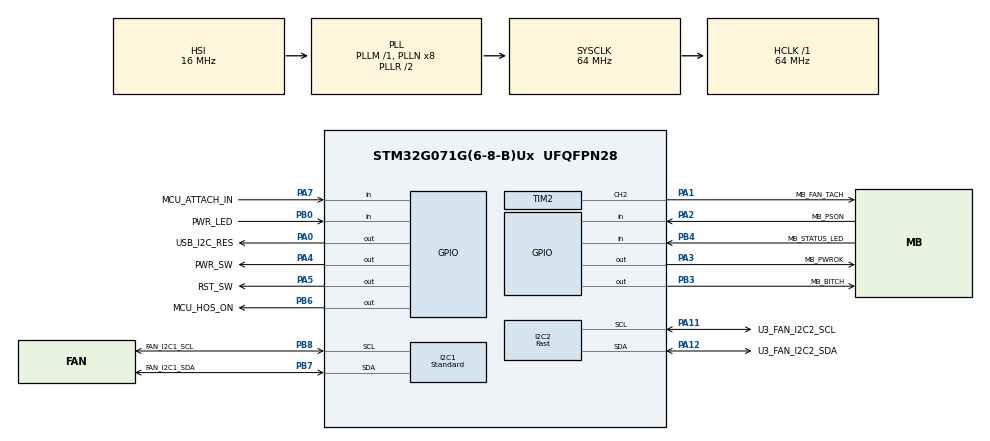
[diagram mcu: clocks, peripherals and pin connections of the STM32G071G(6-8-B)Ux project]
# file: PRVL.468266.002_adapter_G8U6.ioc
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I2C1.Analog_Filter=I2C_ANALOGFILTER_ENABLE
I2C1.I2C_Fall_Time=200
I2C1.I2C_Rise_Time=200
I2C1.I2C_Speed_Mode=I2C_Standard
I2C1.NoStretchMode=I2C_NOSTRETCH_ENABLE
I2C1.Timing=0x10E47DAF
I2C2.Analog_Filter=I2C_ANALOGFILTER_ENABLE
I2C2.I2C_Fall_Time=80
I2C2.I2C_Rise_Time=160
I2C2.I2C_Speed_Mode=I2C_Fast
I2C2.OwnAddress=0x25
I2C2.Timing=0x10801031
Mcu.Family=STM32G0
Mcu.Name=STM32G071G(6-8-B)Ux
Mcu.Package=UFQFPN28
NVIC.I2C1_IRQn=true\:2\:0\:true\:true\:true\:1\:true\:true\:true
NVIC.I2C2_IRQn=true\:1\:0\:true\:true\:true\:2\:true\:true\:true
NVIC.TIM2_IRQn=true\:2\:0\:true\:true\:true\:3\:true\:true\:true
NVIC.TIM3_IRQn=true\:2\:0\:true\:true\:true\:4\:true\:true\:true
PA0.GPIO_Label=USB_I2C_RES
PA0.PinState=GPIO_PIN_SET
PA0.Signal=GPIO_Output
PA1.GPIO_Label=MB_FAN_TACH
PA1.Signal=S_TIM2_CH2
PA11\ [PA9].GPIO_Label=U3_FAN_I2C2_SCL
PA11\ [PA9].Mode=I2C
PA11\ [PA9].Signal=I2C2_SCL
PA12\ [PA10].GPIO_Label=U3_FAN_I2C2_SDA
PA12\ [PA10].Mode=I2C
PA12\ [PA10].Signal=I2C2_SDA
PA13.Mode=Serial_Wire
PA13.Signal=SYS_SWDIO
PA14-BOOT0.Mode=Serial_Wire
PA14-BOOT0.Signal=SYS_SWCLK
PA2.GPIO_Label=MB_PSON
PA2.Signal=GPIO_Input
PA3.GPIO_Label=MB_PWROK
PA3.Signal=GPIO_Output
PA4.GPIO_Label=PWR_SW
PA4.PinState=GPIO_PIN_SET
PA4.Signal=GPIO_Output
PA5.GPIO_Label=RST_SW
PA5.PinState=GPIO_PIN_SET
PA5.Signal=GPIO_Output
PA7.GPIO_Label=MCU_ATTACH_IN
PA7.Signal=GPIO_Input
PB0.GPIO_Label=PWR_LED
PB0.Signal=GPIO_Input
PB3.GPIO_Label=MB_BITCH
PB3.PinState=GPIO_PIN_SET
PB3.Signal=GPIO_Output
PB4.GPIO_Label=MB_STATUS_LED
PB4.Signal=GPIO_Input
PB6.GPIO_Label=MCU_HOS_ON
PB6.PinState=GPIO_PIN_SET
PB6.Signal=GPIO_Output
PB7.GPIO_Label=FAN_I2C1_SDA
PB7.Mode=I2C
PB7.Signal=I2C1_SDA
PB8.GPIO_Label=FAN_I2C1_SCL
PB8.Mode=I2C
PB8.Signal=I2C1_SCL
ProjectManager.HeapSize=0x200
ProjectManager.StackSize=0x400
ProjectManager.TargetToolchain=STM32CubeIDE
RCC.ADCFreq_Value=64000000
RCC.AHBFreq_Value=64000000
RCC.CortexFreq_Value=64000000
RCC.EXTERNAL_CLOCK_VALUE=48000
RCC.HCLKFreq_Value=64000000
RCC.HSE_VALUE=8000000
RCC.HSI_VALUE=16000000
RCC.LSE_VALUE=32768
RCC.PLLQ=RCC_PLLQ_DIV8
RCC.SYSCLKFreq_VALUE=64000000
RCC.SYSCLKSource=RCC_SYSCLKSOURCE_PLLCLK
RCC.VCOOutputFreq_Value=128000000
SH.S_TIM2_CH2.0=TIM2_CH2,PWM Generation2 CH2
TIM2.AutoReloadPreload=TIM_AUTORELOAD_PRELOAD_ENABLE
TIM2.Channel-PWM\ Generation2\ CH2=TIM_CHANNEL_2
TIM2.OC2Preload_PWM=ENABLE
TIM2.Period=999
TIM2.Prescaler=63
TIM2.Pulse-PWM\ Generation2\ CH2=500
TIM3.Period=999
TIM3.Prescaler=63999
VP_SYS_VS_DBSignals.Mode=DisableDeadBatterySignals
VP_TIM2_VS_ClockSourceINT.Mode=Internal
VP_TIM3_VS_ClockSourceINT.Mode=Internal
board=custom

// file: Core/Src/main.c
/* USER CODE BEGIN Header */
/**
 ******************************************************************************
 * @file           : main.c
 * @brief          : Main program body
 ******************************************************************************
 * @attention
 *
 * Copyright (c) 2025 STMicroelectronics.
 * All rights reserved.
 *
 * This software is licensed under terms that can be found in the LICENSE file
 * in the root directory of this software component.
 * If no LICENSE file comes with this software, it is provided AS-IS.
 *
 ******************************************************************************
 */
/* USER CODE END Header */
#include "main.h"

/* USER CODE BEGIN PTD */
typedef enum AdapterState {PWR_OFF = 0b00, PWR_ON = 0b01, HARD_RESET = 0b11} AdapterState;
typedef enum PWROKState {LOW = 0x00, HIGH = 0x01} PWROKState;

#define MAX31760_CR1_REG 0x00 // Адрес Control Register 1
#define MAX31760_PWM_DUTY_REG 0x50 // Регистр коэффициента заполнения Ш�?М
#define _FAN2_FAIL_DUTY_REGISTER 0x03;     /**< Fail Duty Cycle Reg Address */
#define MAX31760_CR2_REG 0x01// Адрес Control Register 2

#define MAX31760_TACH1_MSB 0x52 //tach_ registers
#define MAX31760_TACH1_LSB 0x53
#define MAX31760_TACH2_MSB 0x54
#define MAX31760_TACH2_LSB 0x55

#define TACH_PULSES_PER_REV 2 // Количество импульсов тахометра за один оборот

uint16_t result = 0;
uint8_t flag_receive = 0;

uint8_t MCU_attach=0;
/* USER CODE END PTD */

I2C_HandleTypeDef hi2c1;
I2C_HandleTypeDef hi2c2;

TIM_HandleTypeDef htim2;
TIM_HandleTypeDef htim3;

/* USER CODE BEGIN PV */
void OpenKey()
{
	HAL_GPIO_WritePin(MCU_HOS_ON_GPIO_Port, MCU_HOS_ON_Pin, GPIO_PIN_RESET);
	HAL_GPIO_WritePin(MB_BITCH_GPIO_Port, MB_BITCH_Pin, GPIO_PIN_RESET);

}

void CloseKey()
{
	HAL_GPIO_WritePin(MCU_HOS_ON_GPIO_Port, MCU_HOS_ON_Pin, GPIO_PIN_SET);
	HAL_GPIO_WritePin(MB_BITCH_GPIO_Port, MB_BITCH_Pin, GPIO_PIN_SET);

}

/* USER CODE END PV */

void SystemClock_Config(void);
static void MX_GPIO_Init(void);
static void MX_I2C1_Init(void);
static void MX_I2C2_Init(void);
static void MX_TIM2_Init(void);
static void MX_TIM3_Init(void);
static void MX_NVIC_Init(void);
/* USER CODE BEGIN PFP */

uint16_t tachValue2 = 0; //ReadFanTach(0x51); // Чтение тахометрических данных со первого контроллера
uint16_t tachValue3 = 0; //ReadFanTach(0x54); // Чтение тахометрических данных с второго контроллера
uint16_t tachValue4 = 0; //ReadFanTach(0x54); // Чтение тахометрических данных со второго контроллера

void Send_Fan_Tachometer_To_Motherboard();

AdapterState Command = PWR_OFF;
AdapterState Adapter_State = PWR_OFF;
GPIO_PinState MB_State = GPIO_PIN_RESET;
PWROKState PWR_OK_State = GPIO_PIN_RESET;
/* USER CODE END PFP */

/* USER CODE BEGIN 0 */
uint16_t overflow_counter =0;

uint8_t command_i2c = 0;
int8_t temperature = 0;
uint8_t TempMode = 1;

uint16_t minRPM = 0;
uint8_t statusFAN1 = 0;
uint8_t statusFAN2 = 0;

void ResetFan()
{
	while (HAL_I2C_IsDeviceReady(&hi2c1, (0x51 << 1), 10, HAL_MAX_DELAY) != HAL_OK)
	{}
	uint8_t pData[1] = {0x40};
	uint8_t pData_2[1] = {0x02};
	uint8_t pData_3[1] = {0xFF};
	HAL_I2C_Mem_Write(&hi2c1, (0x51 << 1), MAX31760_CR1_REG, 1, pData, 1, 100);
	HAL_Delay(200);
	HAL_I2C_Mem_Write(&hi2c1, (0x51 << 1), 0x02, 1, pData_2, 1, 100);
	HAL_Delay(50);
	HAL_I2C_Mem_Write(&hi2c1, (0x51 << 1), 0x04, 1, pData_3, 1, 100);
	HAL_Delay(50);
	while (HAL_I2C_IsDeviceReady(&hi2c1, (0x54 << 1), 10, HAL_MAX_DELAY) != HAL_OK)
	{}
	HAL_I2C_Mem_Write(&hi2c1, (0x54<<1), MAX31760_CR1_REG, 1, pData, 1, 100);
	HAL_Delay(200);
	HAL_I2C_Mem_Write(&hi2c1, (0x54 << 1), 0x04, 1, pData_3, 1, 100);
	HAL_Delay(50);

}
uint16_t ReadTachRegister(uint8_t address, uint8_t regMSB, uint8_t regLSB)
{
	uint8_t msb, lsb;  // @suppress("Multiple variable declaration")

	HAL_I2C_Mem_Read(&hi2c1, address << 1, regMSB, I2C_MEMADD_SIZE_8BIT, &msb, 1, 100);
	HAL_I2C_Mem_Read(&hi2c1, address << 1, regLSB, I2C_MEMADD_SIZE_8BIT, &lsb, 1, 100);
	return (msb << 8) | lsb; // Объединяем MSB и LSB в 16-битное значение
}

void Read_Fan_Tachometer()
{

	tachValue2 = ReadTachRegister(0x51, MAX31760_TACH1_MSB, MAX31760_TACH1_LSB); // Первый контроллер, второй тахометр
	tachValue3 = ReadTachRegister(0x54, MAX31760_TACH1_MSB, MAX31760_TACH1_LSB); // Второй контроллер, первый тахометр
	tachValue4 = ReadTachRegister(0x54, MAX31760_TACH2_MSB, MAX31760_TACH2_LSB); // Второй контроллер, второй тахометр
}

void ReadStatus()
{
	HAL_I2C_Mem_Read(&hi2c1,( 0x51 << 1), 0x5A, I2C_MEMADD_SIZE_8BIT, &statusFAN1, 1, 100);
	HAL_I2C_Mem_Read(&hi2c1, (0x54 << 1), 0x5A, I2C_MEMADD_SIZE_8BIT, &statusFAN2, 1, 100);
}

uint16_t CalculateRPM(uint16_t tachValue)
{
	if (tachValue == 0) return 0; // �?збегаем деления на ноль
	return (60 * 100000) / (tachValue*TACH_PULSES_PER_REV);
}

uint16_t GetMinRPM(uint16_t rpm2, uint16_t rpm3, uint16_t rpm4)
{
	uint16_t minRPM = rpm3; // Предполагаем, что первое значение минимальное

	if (rpm3 < minRPM) {
		minRPM = rpm3; // Обновляем минимум, если второе значение меньше
	}
	if (rpm4 < minRPM) {
		minRPM = rpm4; // Обновляем минимум, если третье значение меньше
	}

	return minRPM; // Возвращаем минимальное значение
}

void Calculate_RPM()
{

	uint16_t rpm2 = CalculateRPM(tachValue2);
	uint16_t rpm3 = CalculateRPM(tachValue3);
	uint16_t rpm4 = CalculateRPM(tachValue4);

	// Здесь можно сохранить значения RPM в глобальные переменные или передать их дальше
	minRPM = GetMinRPM(rpm2, rpm3, rpm4);
}

void FanContrlSetDuty(I2C_HandleTypeDef *hi2c, uint16_t slaveAddress, uint8_t duty)
{
	uint8_t comm;
	uint8_t aTxBuffer[1] = {0};

	comm = MAX31760_PWM_DUTY_REG;
	aTxBuffer[0] = duty;
	HAL_I2C_Mem_Write(hi2c, slaveAddress, comm, 1, aTxBuffer, 1, 100);

	comm = _FAN2_FAIL_DUTY_REGISTER;
	aTxBuffer[0] = duty;
	HAL_I2C_Mem_Write(hi2c, slaveAddress, comm, 1, aTxBuffer, 1, 100);
}

void SetPWMFrequency(uint8_t address, uint8_t frequencySetting) {
	uint8_t data[2] = {MAX31760_CR1_REG, frequencySetting};

	uint8_t data_2[2] = {MAX31760_CR2_REG, 0x11};

	HAL_I2C_Master_Transmit(&hi2c1, (address << 1), data, 2, 100);

	HAL_I2C_Master_Transmit(&hi2c1, (address << 1), data_2, 2, 100);
}

void WriteMAX31760Register(uint8_t address, uint8_t reg, uint8_t value) {

	uint8_t data[2] = {reg, value};
	HAL_I2C_Master_Transmit(&hi2c1, (address << 1), data, 2, 100);
}

void InitMAX31760(uint8_t address) {
	// Установка частоты Ш�?М 24 кГц
	// Значение для регистра 0x32 зависит от формулы в документации
	// Например, если для 24 кГц нужно значение 0x4B:

	SetPWMFrequency(address, 0x19);
	// Установка коэффициента заполнения Ш�?М 50%
	FanContrlSetDuty(&hi2c1, (address << 1), 0xFF);

}

void SetButton(GPIO_PinState state)
{
	HAL_GPIO_WritePin(PWR_SW_GPIO_Port, PWR_SW_Pin, state);
}

void PressButton(uint16_t time)
{
	SetButton(GPIO_PIN_RESET);
	HAL_Delay(time);
	SetButton(GPIO_PIN_SET);
}

void SetPWROK(PWROKState state)
{
	HAL_GPIO_WritePin(MB_PWROK_GPIO_Port, MB_PWROK_Pin, (state == HIGH ? GPIO_PIN_SET : GPIO_PIN_RESET));
	PWR_OK_State = state;
}
void SetTempMode()
{
	MCU_attach = HAL_GPIO_ReadPin(MCU_ATTACH_IN_GPIO_Port, MCU_ATTACH_IN_Pin);
	if(MCU_attach == 1) {
		TempMode = 0;
	} else if (MCU_attach == 0 && temperature > 50 )
	{
		TempMode = 0;
	}else TempMode = 1;
}

void Send_Fan_Tachometer_To_Motherboard() {
	// Пример: генерация Ш�?М сигнала с частотой 1 кГц и duty cycle, соответствующим значению RPM
	uint32_t period1 = 0;

	if (minRPM > 0) {
		// Вычисляем период таймера для заданного RPM

		period1 = (1000000 / (minRPM * 2));
	} else {
		// Если RPM == 0, устанавливаем максимальный период (или другой порог)
		period1 = 1000 - 1; // Например, 1 мс (частота 1 кГц)
	}
	__HAL_TIM_SET_AUTORELOAD(&htim2, period1 - 1); // Установка периода 1 мс (частота 1 кГц)
	__HAL_TIM_SET_COMPARE(&htim2, TIM_CHANNEL_2, period1 / 2); // Установка duty cycle пропорционально значению RPM

}
uint8_t i2c_rx_buffer[1]; // Буфер для приёма данных
uint8_t Command_temp = 0;
/* USER CODE END 0 */

int main(void)
{

  /* MCU Configuration--------------------------------------------------------*/

  /* Reset of all peripherals, Initializes the Flash interface and the Systick. */
  HAL_Init();

  /* Configure the system clock */
  SystemClock_Config();

  /* Initialize all configured peripherals */
  MX_GPIO_Init();
  MX_I2C1_Init();
  MX_I2C2_Init();
  MX_TIM2_Init();
  MX_TIM3_Init();

  /* Initialize interrupts */
  MX_NVIC_Init();
  /* USER CODE BEGIN 2 */
	HAL_Delay(200);
	ResetFan();
	HAL_Delay(200);
	SetButton(GPIO_PIN_SET);
	SetPWROK(HIGH);
	InitMAX31760(0x54); // �?нициализация первого контроллера
	InitMAX31760(0x51); // �?нициализация второго контроллера

	HAL_TIM_Base_Start_IT(&htim3);
	HAL_TIM_PWM_Start(&htim2, TIM_CHANNEL_2); //запуск Ш�?М
	HAL_GPIO_WritePin(MB_BITCH_GPIO_Port, MB_BITCH_Pin, GPIO_PIN_SET);
	Command_temp = HAL_GPIO_ReadPin(MB_STATUS_LED_GPIO_Port, MB_STATUS_LED_Pin);

	//ReadStatus();
  /* USER CODE END 2 */

  /* Infinite loop */
	while (1)
	{

    /* USER CODE BEGIN 3 */

		Command_temp = HAL_GPIO_ReadPin(MB_STATUS_LED_GPIO_Port, MB_STATUS_LED_Pin);
		HAL_I2C_Slave_Receive_IT(&hi2c2, i2c_rx_buffer, 1);

		// Управление вентиляторами
		if (TempMode == 0) {
			FanContrlSetDuty(&hi2c1, (0x54 << 1), 0xF0); // Установка Ш�?М на 50% для первого контроллера
			FanContrlSetDuty(&hi2c1, (0x51 << 1), 0xF0); // Установка Ш�?М на 50% для второго контроллера
		} else if (TempMode == 1) {
			FanContrlSetDuty(&hi2c1, (0x54 << 1), 0x80); // Установка Ш�?М на 50% для первого контроллера
			FanContrlSetDuty(&hi2c1, (0x51 << 1), 0x80); // Установка Ш�?М на 50% для второго контроллера
		} else {
			FanContrlSetDuty(&hi2c1, (0x54 << 1), 0xFF); // Установка Ш�?М на 50% для первого контроллера
			FanContrlSetDuty(&hi2c1, (0x51 << 1), 0xFF); // Установка Ш�?М на 50% для второго контроллера
		}

		if(Adapter_State == 1)
		{
			HAL_GPIO_WritePin(MB_BITCH_GPIO_Port, MB_BITCH_Pin, GPIO_PIN_RESET);
		}

	}
  /* USER CODE END 3 */
}

void SystemClock_Config(void)
{
  RCC_OscInitTypeDef RCC_OscInitStruct = {0};
  RCC_ClkInitTypeDef RCC_ClkInitStruct = {0};

  /** Configure the main internal regulator output voltage
  */
  HAL_PWREx_ControlVoltageScaling(PWR_REGULATOR_VOLTAGE_SCALE1);

  /** Initializes the RCC Oscillators according to the specified parameters
  * in the RCC_OscInitTypeDef structure.
  */
  RCC_OscInitStruct.OscillatorType = RCC_OSCILLATORTYPE_HSI;
  RCC_OscInitStruct.HSIState = RCC_HSI_ON;
  RCC_OscInitStruct.HSIDiv = RCC_HSI_DIV1;
  RCC_OscInitStruct.HSICalibrationValue = RCC_HSICALIBRATION_DEFAULT;
  RCC_OscInitStruct.PLL.PLLState = RCC_PLL_ON;
  RCC_OscInitStruct.PLL.PLLSource = RCC_PLLSOURCE_HSI;
  RCC_OscInitStruct.PLL.PLLM = RCC_PLLM_DIV1;
  RCC_OscInitStruct.PLL.PLLN = 8;
  RCC_OscInitStruct.PLL.PLLP = RCC_PLLP_DIV2;
  RCC_OscInitStruct.PLL.PLLQ = RCC_PLLQ_DIV8;
  RCC_OscInitStruct.PLL.PLLR = RCC_PLLR_DIV2;
  if (HAL_RCC_OscConfig(&RCC_OscInitStruct) != HAL_OK)
  {
    Error_Handler();
  }

  /** Initializes the CPU, AHB and APB buses clocks
  */
  RCC_ClkInitStruct.ClockType = RCC_CLOCKTYPE_HCLK|RCC_CLOCKTYPE_SYSCLK
                              |RCC_CLOCKTYPE_PCLK1;
  RCC_ClkInitStruct.SYSCLKSource = RCC_SYSCLKSOURCE_PLLCLK;
  RCC_ClkInitStruct.AHBCLKDivider = RCC_SYSCLK_DIV1;
  RCC_ClkInitStruct.APB1CLKDivider = RCC_HCLK_DIV1;

  if (HAL_RCC_ClockConfig(&RCC_ClkInitStruct, FLASH_LATENCY_2) != HAL_OK)
  {
    Error_Handler();
  }
}

/**
  * @brief NVIC Configuration.
  * @retval None
  */
static void MX_NVIC_Init(void)
{
  /* I2C1_IRQn interrupt configuration */
  HAL_NVIC_SetPriority(I2C1_IRQn, 2, 0);
  HAL_NVIC_EnableIRQ(I2C1_IRQn);
  /* I2C2_IRQn interrupt configuration */
  HAL_NVIC_SetPriority(I2C2_IRQn, 1, 0);
  HAL_NVIC_EnableIRQ(I2C2_IRQn);
  /* TIM2_IRQn interrupt configuration */
  HAL_NVIC_SetPriority(TIM2_IRQn, 2, 0);
  HAL_NVIC_EnableIRQ(TIM2_IRQn);
  /* TIM3_IRQn interrupt configuration */
  HAL_NVIC_SetPriority(TIM3_IRQn, 2, 0);
  HAL_NVIC_EnableIRQ(TIM3_IRQn);
}

static void MX_I2C1_Init(void)
{

  hi2c1.Instance = I2C1;
  hi2c1.Init.Timing = 0x10E47DAF;
  hi2c1.Init.OwnAddress1 = 0;
  hi2c1.Init.AddressingMode = I2C_ADDRESSINGMODE_7BIT;
  hi2c1.Init.DualAddressMode = I2C_DUALADDRESS_DISABLE;
  hi2c1.Init.OwnAddress2 = 0;
  hi2c1.Init.OwnAddress2Masks = I2C_OA2_NOMASK;
  hi2c1.Init.GeneralCallMode = I2C_GENERALCALL_DISABLE;
  hi2c1.Init.NoStretchMode = I2C_NOSTRETCH_ENABLE;
  if (HAL_I2C_Init(&hi2c1) != HAL_OK)
  {
    Error_Handler();
  }

  /** Configure Analogue filter
  */
  if (HAL_I2CEx_ConfigAnalogFilter(&hi2c1, I2C_ANALOGFILTER_ENABLE) != HAL_OK)
  {
    Error_Handler();
  }

  /** Configure Digital filter
  */
  if (HAL_I2CEx_ConfigDigitalFilter(&hi2c1, 0) != HAL_OK)
  {
    Error_Handler();
  }

}

static void MX_I2C2_Init(void)
{

  hi2c2.Instance = I2C2;
  hi2c2.Init.Timing = 0x10801031;
  hi2c2.Init.OwnAddress1 = 74;
  hi2c2.Init.AddressingMode = I2C_ADDRESSINGMODE_7BIT;
  hi2c2.Init.DualAddressMode = I2C_DUALADDRESS_DISABLE;
  hi2c2.Init.OwnAddress2 = 0;
  hi2c2.Init.OwnAddress2Masks = I2C_OA2_NOMASK;
  hi2c2.Init.GeneralCallMode = I2C_GENERALCALL_DISABLE;
  hi2c2.Init.NoStretchMode = I2C_NOSTRETCH_DISABLE;
  if (HAL_I2C_Init(&hi2c2) != HAL_OK)
  {
    Error_Handler();
  }

  /** Configure Analogue filter
  */
  if (HAL_I2CEx_ConfigAnalogFilter(&hi2c2, I2C_ANALOGFILTER_ENABLE) != HAL_OK)
  {
    Error_Handler();
  }

  /** Configure Digital filter
  */
  if (HAL_I2CEx_ConfigDigitalFilter(&hi2c2, 0) != HAL_OK)
  {
    Error_Handler();
  }

}

static void MX_TIM2_Init(void)
{

  TIM_ClockConfigTypeDef sClockSourceConfig = {0};
  TIM_MasterConfigTypeDef sMasterConfig = {0};
  TIM_OC_InitTypeDef sConfigOC = {0};

  htim2.Instance = TIM2;
  htim2.Init.Prescaler = 63;
  htim2.Init.CounterMode = TIM_COUNTERMODE_UP;
  htim2.Init.Period = 999;
  htim2.Init.ClockDivision = TIM_CLOCKDIVISION_DIV1;
  htim2.Init.AutoReloadPreload = TIM_AUTORELOAD_PRELOAD_ENABLE;
  if (HAL_TIM_Base_Init(&htim2) != HAL_OK)
  {
    Error_Handler();
  }
  sClockSourceConfig.ClockSource = TIM_CLOCKSOURCE_INTERNAL;
  if (HAL_TIM_ConfigClockSource(&htim2, &sClockSourceConfig) != HAL_OK)
  {
    Error_Handler();
  }
  if (HAL_TIM_PWM_Init(&htim2) != HAL_OK)
  {
    Error_Handler();
  }
  sMasterConfig.MasterOutputTrigger = TIM_TRGO_RESET;
  sMasterConfig.MasterSlaveMode = TIM_MASTERSLAVEMODE_DISABLE;
  if (HAL_TIMEx_MasterConfigSynchronization(&htim2, &sMasterConfig) != HAL_OK)
  {
    Error_Handler();
  }
  sConfigOC.OCMode = TIM_OCMODE_PWM1;
  sConfigOC.Pulse = 500;
  sConfigOC.OCPolarity = TIM_OCPOLARITY_HIGH;
  sConfigOC.OCFastMode = TIM_OCFAST_DISABLE;
  if (HAL_TIM_PWM_ConfigChannel(&htim2, &sConfigOC, TIM_CHANNEL_2) != HAL_OK)
  {
    Error_Handler();
  }
  HAL_TIM_MspPostInit(&htim2);

}

static void MX_TIM3_Init(void)
{

  TIM_ClockConfigTypeDef sClockSourceConfig = {0};
  TIM_MasterConfigTypeDef sMasterConfig = {0};

  htim3.Instance = TIM3;
  htim3.Init.Prescaler = 63999;
  htim3.Init.CounterMode = TIM_COUNTERMODE_UP;
  htim3.Init.Period = 999;
  htim3.Init.ClockDivision = TIM_CLOCKDIVISION_DIV1;
  htim3.Init.AutoReloadPreload = TIM_AUTORELOAD_PRELOAD_DISABLE;
  if (HAL_TIM_Base_Init(&htim3) != HAL_OK)
  {
    Error_Handler();
  }
  sClockSourceConfig.ClockSource = TIM_CLOCKSOURCE_INTERNAL;
  if (HAL_TIM_ConfigClockSource(&htim3, &sClockSourceConfig) != HAL_OK)
  {
    Error_Handler();
  }
  sMasterConfig.MasterOutputTrigger = TIM_TRGO_RESET;
  sMasterConfig.MasterSlaveMode = TIM_MASTERSLAVEMODE_DISABLE;
  if (HAL_TIMEx_MasterConfigSynchronization(&htim3, &sMasterConfig) != HAL_OK)
  {
    Error_Handler();
  }

}

static void MX_GPIO_Init(void)
{
  GPIO_InitTypeDef GPIO_InitStruct = {0};

  /* GPIO Ports Clock Enable */
  __HAL_RCC_GPIOA_CLK_ENABLE();
  __HAL_RCC_GPIOB_CLK_ENABLE();

  /*Configure GPIO pin Output Level */
  HAL_GPIO_WritePin(GPIOA, USB_I2C_RES_Pin|PWR_SW_Pin|RST_SW_Pin, GPIO_PIN_SET);

  /*Configure GPIO pin Output Level */
  HAL_GPIO_WritePin(MB_PWROK_GPIO_Port, MB_PWROK_Pin, GPIO_PIN_RESET);

  /*Configure GPIO pin Output Level */
  HAL_GPIO_WritePin(GPIOB, MB_BITCH_Pin|MCU_HOS_ON_Pin, GPIO_PIN_SET);

  /*Configure GPIO pins : USB_I2C_RES_Pin MB_PWROK_Pin PWR_SW_Pin RST_SW_Pin */
  GPIO_InitStruct.Pin = USB_I2C_RES_Pin|MB_PWROK_Pin|PWR_SW_Pin|RST_SW_Pin;
  GPIO_InitStruct.Mode = GPIO_MODE_OUTPUT_PP;
  GPIO_InitStruct.Pull = GPIO_NOPULL;
  GPIO_InitStruct.Speed = GPIO_SPEED_FREQ_LOW;
  HAL_GPIO_Init(GPIOA, &GPIO_InitStruct);

  /*Configure GPIO pins : MB_PSON_Pin MCU_ATTACH_IN_Pin */
  GPIO_InitStruct.Pin = MB_PSON_Pin|MCU_ATTACH_IN_Pin;
  GPIO_InitStruct.Mode = GPIO_MODE_INPUT;
  GPIO_InitStruct.Pull = GPIO_NOPULL;
  HAL_GPIO_Init(GPIOA, &GPIO_InitStruct);

  /*Configure GPIO pins : PWR_LED_Pin MB_STATUS_LED_Pin */
  GPIO_InitStruct.Pin = PWR_LED_Pin|MB_STATUS_LED_Pin;
  GPIO_InitStruct.Mode = GPIO_MODE_INPUT;
  GPIO_InitStruct.Pull = GPIO_NOPULL;
  HAL_GPIO_Init(GPIOB, &GPIO_InitStruct);

  /*Configure GPIO pins : MB_BITCH_Pin MCU_HOS_ON_Pin */
  GPIO_InitStruct.Pin = MB_BITCH_Pin|MCU_HOS_ON_Pin;
  GPIO_InitStruct.Mode = GPIO_MODE_OUTPUT_PP;
  GPIO_InitStruct.Pull = GPIO_NOPULL;
  GPIO_InitStruct.Speed = GPIO_SPEED_FREQ_LOW;
  HAL_GPIO_Init(GPIOB, &GPIO_InitStruct);

}

/* USER CODE BEGIN 4 */

void ProcessComand(uint8_t command)
{
	if(command == 0b00 || command == 0b01 ||command == 0b10 ||command == 0b11)
	{
		Command = command;
		MB_State = HAL_GPIO_ReadPin(MB_PSON_GPIO_Port, MB_PSON_Pin);
		if (Command == PWR_OFF && MB_State == 1) {

			SetButton(0);
			while(MB_State != 0)
			{
				MB_State = HAL_GPIO_ReadPin(MB_PSON_GPIO_Port, MB_PSON_Pin);
			}
			SetButton(1);// Короткое нажатие
			CloseKey();
			SetPWROK(HIGH);
			HAL_Delay(300);
			flag_receive = 0;
			Adapter_State = 0;

		} else if (Command == PWR_ON)
		{

			HAL_Delay(500);
			PressButton(200);
			while(MB_State != 1)
			{
				MB_State = HAL_GPIO_ReadPin(MB_PSON_GPIO_Port, MB_PSON_Pin);
			}
			HAL_Delay(100);
			OpenKey();
			SetPWROK(LOW);
			HAL_Delay(500);
			Adapter_State = 1;
			HAL_Delay(7000);
			flag_receive = 0;
		} else if (Command == HARD_RESET && MB_State == 1) {
			SetButton(0);
			while(MB_State != 0)
			{
				MB_State = HAL_GPIO_ReadPin(MB_PSON_GPIO_Port, MB_PSON_Pin);
			}
			SetButton(1);// Короткое нажатие
			SetPWROK(HIGH);
			CloseKey();
			HAL_Delay(5000);
			OpenKey();
			HAL_Delay(500);
			PressButton(200);
			while(MB_State != 1)
			{
				MB_State = HAL_GPIO_ReadPin(MB_PSON_GPIO_Port, MB_PSON_Pin);
			}
			SetPWROK(LOW);
			HAL_Delay(500);
			Adapter_State = 1;
			HAL_Delay(7000);
			flag_receive = 0;
		}else {

			flag_receive = 0;
			return;
		}
	}
}

void HAL_I2C_SlaveRxCpltCallback(I2C_HandleTypeDef *hi2c) {

	flag_receive = 1;
	Command_temp = HAL_GPIO_ReadPin(MB_STATUS_LED_GPIO_Port, MB_STATUS_LED_Pin);
	if(Command_temp == 1)
	{
		command_i2c = i2c_rx_buffer[0] & 0b11;
		ProcessComand(command_i2c);
	}else
	{
		temperature = i2c_rx_buffer[0];
		flag_receive = 0;
	}
	HAL_I2C_Slave_Receive_IT(&hi2c2, i2c_rx_buffer, 1);
}

void HAL_TIM_PeriodElapsedCallback(TIM_HandleTypeDef *htim)
{

	if (htim->Instance == TIM3) // 1 раз в секунду
	{
		Read_Fan_Tachometer();
		Calculate_RPM();
		Send_Fan_Tachometer_To_Motherboard();
		SetTempMode();
		MB_State = HAL_GPIO_ReadPin(MB_PSON_GPIO_Port, MB_PSON_Pin);
		if (MB_State == 1 && Adapter_State == 0)//включение BMC
		{
			OpenKey();
			HAL_Delay(100);
			SetPWROK(LOW);
			Adapter_State = 1;

		} else if (MB_State == 0 && Adapter_State == 1)// выключение BMC
		{
			CloseKey();
			HAL_Delay(100);
			SetPWROK(HIGH);
			Adapter_State = 0;
		}

	}
}

/* USER CODE END 4 */

void Error_Handler(void)
{
	__disable_irq();
	while (1)
	{
	}
}
